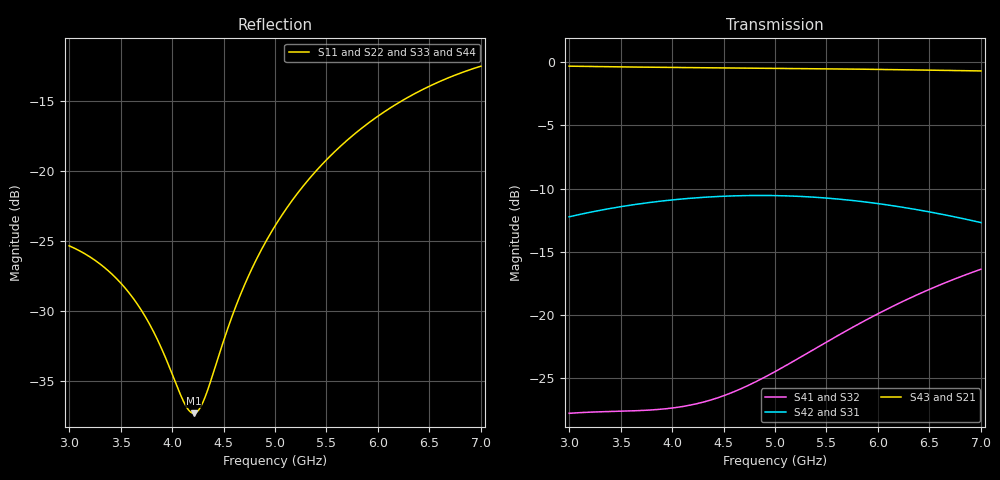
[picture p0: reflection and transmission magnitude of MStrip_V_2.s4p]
! Created Wed May  8 15:51:58 2024
# hz S ma R 50
! 4 Port Network Data from SP1.SP block
! freq  magS11  angS11  magS12  angS12  magS13  angS13  magS14  angS14
!  magS21  angS21  magS22  angS22  magS23  angS23  magS24  angS24
!  magS31  angS31  magS32  angS32  magS33  angS33  magS34  angS34
!  magS41  angS41  magS42  angS42  magS43  angS43  magS44  angS44
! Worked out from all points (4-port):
!   401 points, 3 GHz to 7 GHz, reference 50 ohm
!   strongest paths, dB at 3 GHz, 4 GHz, 5 GHz, 6 GHz, 7 GHz:
!     S43: -0.3, -0.4, -0.5, -0.6, -0.7
!     S21: -0.3, -0.4, -0.5, -0.6, -0.7
!     S42: -12.2, -10.9, -10.6, -11.2, -12.7
!     S31: -12.2, -10.9, -10.6, -11.2, -12.7
!     S41: -27.8, -27.3, -24.5, -19.9, -16.4
!     S32: -27.8, -27.3, -24.5, -19.9, -16.4
!   lowest |S11| = -37.3 dB at 4.21 GHz (marker M1), VSWR 1.03, Z = 48.8 + j0.64 ohm
!   |S11| at or under -10 dB: start of sweep to end of sweep
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3e9  0.0539 -71.4  0.9631 -151.0  0.2446 -61.6  0.04095 99.9
     0.9631 -151.0  0.0539 -71.4  0.04095 99.9  0.2446 -61.6
     0.2446 -61.6  0.04095 99.9  0.0539 -71.4  0.9631 -151.0
     0.04095 99.9  0.2446 -61.6  0.9631 -151.0  0.0539 -71.4
3.61e9  0.03552 -110.8  0.9557 178.2  0.2725 -92.1  0.04187 75.1
        0.9557 178.2  0.03552 -110.8  0.04187 75.1  0.2725 -92.1
        0.2725 -92.1  0.04187 75.1  0.03552 -110.8  0.9557 178.2
        0.04187 75.1  0.2725 -92.1  0.9557 178.2  0.03552 -110.8
4.21e9  0.01361 151.2  0.9503 147.8  0.2903 -122.2  0.04441 57.6
        0.9503 147.8  0.01361 151.2  0.04441 57.6  0.2903 -122.2
        0.2903 -122.2  0.04441 57.6  0.01361 151.2  0.9503 147.8
        0.04441 57.6  0.2903 -122.2  0.9503 147.8  0.01361 151.2
4.9e9  0.05488 40.8  0.9452 112.6  0.2971 -156.8  0.05689 39.5
       0.9452 112.6  0.05488 40.8  0.05689 39.5  0.2971 -156.8
       0.2971 -156.8  0.05689 39.5  0.05488 40.8  0.9452 112.6
       0.05689 39.5  0.2971 -156.8  0.9452 112.6  0.05488 40.8
5.53e9  0.1121 1.6  0.9401 80.1  0.2895 172.0  0.07955 15.5
        0.9401 80.1  0.1121 1.6  0.07955 15.5  0.2895 172.0
        0.2895 172.0  0.07955 15.5  0.1121 1.6  0.9401 80.1
        0.07955 15.5  0.2895 172.0  0.9401 80.1  0.1121 1.6
6.33e9  0.1859 -42.0  0.9311 38.5  0.2632 133.6  0.1178 -25.0
        0.9311 38.5  0.1859 -42.0  0.1178 -25.0  0.2632 133.6
        0.2632 133.6  0.1178 -25.0  0.1859 -42.0  0.9311 38.5
        0.1178 -25.0  0.2632 133.6  0.9311 38.5  0.1859 -42.0
7e9  0.2359 -77.4  0.9222 3.7  0.2323 103.3  0.1519 -63.2
     0.9222 3.7  0.2359 -77.4  0.1519 -63.2  0.2323 103.3
     0.2323 103.3  0.1519 -63.2  0.2359 -77.4  0.9222 3.7
     0.1519 -63.2  0.2323 103.3  0.9222 3.7  0.2359 -77.4
